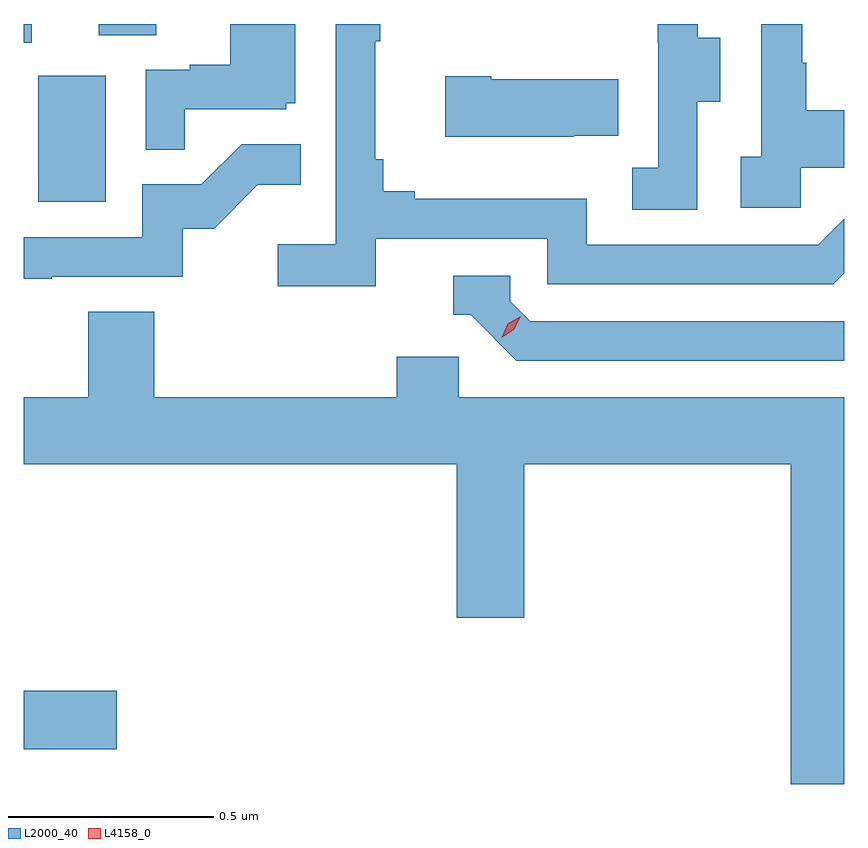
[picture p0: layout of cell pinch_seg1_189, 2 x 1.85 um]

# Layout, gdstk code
import gdstk
lib = gdstk.Library(unit=1e-6, precision=1e-09)
def R(c, l, rs):  # rectangles x0, y0, x1, y1
    for r in rs: c.add(gdstk.rectangle(r[:2], r[2:], *l))
def P(c, l, *ps):  # polygons
    for p in ps: c.add(gdstk.Polygon(p, *l))
L2000_40 = (2000, 40)
L4158_0 = (4158, 0)

pinch_seg1_189 = lib.new_cell('pinch_seg1_189')
R(pinch_seg1_189, L2000_40, [(1111.004,559.03,1111.231,559.172), (1111.04,560.364,1111.204,560.671), (1111.004,560.751,1111.024,560.797), (1111.187,560.77,1111.327,560.797)])
P(pinch_seg1_189, L2000_40, [(1112.898,560.447),(1113.004,560.447),(1113.004,560.587),(1112.911,560.587),(1112.911,560.702),(1112.901,560.702),(1112.901,560.797),(1112.802,560.797),(1112.802,560.474),(1112.751,560.474),(1112.751,560.349),(1112.898,560.349)],
  [(1112.646,560.608),(1112.701,560.608),(1112.701,560.763),(1112.647,560.763),(1112.647,560.797),(1112.549,560.797),(1112.549,560.751),(1112.55,560.751),(1112.55,560.447),(1112.487,560.447),(1112.487,560.344),(1112.646,560.344)],
  [(1111.397,560.589),(1111.644,560.589),(1111.644,560.604),(1111.666,560.604),(1111.666,560.797),(1111.508,560.797),(1111.508,560.698),(1111.409,560.698),(1111.409,560.685),(1111.302,560.685),(1111.302,560.491),(1111.397,560.491)],
  [(1111.862,560.274),(1112.28,560.274),(1112.28,560.163),(1112.977,560.163),(1113.004,560.19),(1113.004,560.323),(1112.94,560.259),(1112.376,560.259),(1112.376,560.371),(1111.957,560.371),(1111.957,560.39),(1111.88,560.39),(1111.88,560.467),(1111.861,560.467),(1111.861,560.755),(1111.873,560.755),(1111.873,560.797),(1111.764,560.797),(1111.764,560.26),(1111.623,560.26),(1111.623,560.158),(1111.862,560.158)],
  [(1112.345,560.525),(1112.453,560.525),(1112.453,560.662),(1112.143,560.662),(1112.143,560.67),(1112.031,560.67),(1112.031,560.522),(1112.345,560.522)],
  [(1111.073,560.181),(1111.392,560.181),(1111.392,560.298),(1111.468,560.298),(1111.575,560.405),(1111.679,560.405),(1111.679,560.504),(1111.535,560.504),(1111.437,560.406),(1111.293,560.406),(1111.293,560.277),(1111.004,560.277),(1111.004,560.176),(1111.073,560.176)],
  [(1113.004,560.073),(1112.238,560.073),(1112.19,560.121),(1112.19,560.184),(1112.051,560.184),(1112.051,560.088),(1112.094,560.088),(1112.205,559.977),(1113.004,559.977)],
  [(1113.004,559.888),(1112.064,559.888),(1112.064,559.986),(1111.913,559.986),(1111.913,559.888),(1111.322,559.888),(1111.322,560.096),(1111.162,560.096),(1111.162,559.888),(1111.004,559.888),(1111.004,559.724),(1112.06,559.724),(1112.06,559.35),(1112.224,559.35),(1112.224,559.724),(1112.873,559.724),(1112.873,558.945),(1113.004,558.945)])
P(pinch_seg1_189, L4158_0, [(1112.169,560.033),(1112.169,560.033),(1112.184,560.066),(1112.215,560.085),(1112.215,560.085),(1112.215,560.085),(1112.199,560.053),(1112.169,560.033)])

lib.write_gds('pinch_seg1_189.gds')
